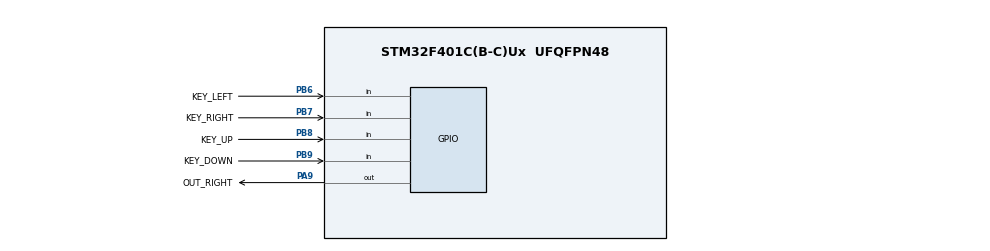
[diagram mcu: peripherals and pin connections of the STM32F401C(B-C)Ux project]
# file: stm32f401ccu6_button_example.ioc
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Mcu.Family=STM32F4
Mcu.Name=STM32F401C(B-C)Ux
Mcu.Package=UFQFPN48
NVIC.PriorityGroup=NVIC_PRIORITYGROUP_4
NVIC.TIM1_UP_TIM10_IRQn=true\:2\:0\:true\:false\:true\:true\:true\:true
PA13.Mode=Serial_Wire
PA13.Signal=SYS_JTMS-SWDIO
PA14.Mode=Serial_Wire
PA14.Signal=SYS_JTCK-SWCLK
PA9.GPIO_Label=OUT_RIGHT
PA9.Signal=GPIO_Output
PB6.GPIO_Label=KEY_LEFT
PB6.GPIO_Mode=GPIO_MODE_INPUT
PB6.GPIO_PuPd=GPIO_PULLUP
PB6.Signal=GPIO_Input
PB7.GPIO_Label=KEY_RIGHT
PB7.GPIO_Mode=GPIO_MODE_INPUT
PB7.GPIO_PuPd=GPIO_PULLUP
PB7.Signal=GPIO_Input
PB8.GPIO_Label=KEY_UP
PB8.GPIO_Mode=GPIO_MODE_INPUT
PB8.GPIO_PuPd=GPIO_PULLUP
PB8.Signal=GPIO_Input
PB9.GPIO_Label=KEY_DOWN
PB9.GPIO_Mode=GPIO_MODE_INPUT
PB9.GPIO_PuPd=GPIO_PULLUP
PB9.Signal=GPIO_Input
PH0\ -\ OSC_IN.Mode=HSE-External-Oscillator
PH0\ -\ OSC_IN.Signal=RCC_OSC_IN
PH1\ -\ OSC_OUT.Mode=HSE-External-Oscillator
PH1\ -\ OSC_OUT.Signal=RCC_OSC_OUT
ProjectManager.HeapSize=0x200
ProjectManager.StackSize=0x400
ProjectManager.TargetToolchain=STM32CubeIDE
RCC.48MHZClocksFreq_Value=42000000
RCC.AHBFreq_Value=84000000
RCC.APB1CLKDivider=RCC_HCLK_DIV2
RCC.APB1Freq_Value=42000000
RCC.APB1TimFreq_Value=84000000
RCC.APB2Freq_Value=84000000
RCC.APB2TimFreq_Value=84000000
RCC.CortexFreq_Value=84000000
RCC.HCLKFreq_Value=84000000
RCC.HSE_VALUE=25000000
RCC.HSI_VALUE=16000000
RCC.LSE_VALUE=32768
RCC.PLLM=25
RCC.PLLN=168
RCC.PLLSourceVirtual=RCC_PLLSOURCE_HSE
RCC.SYSCLKFreq_VALUE=84000000
RCC.SYSCLKSource=RCC_SYSCLKSOURCE_PLLCLK
RCC.VCOOutputFreq_Value=168000000
TIM10.Period=419
TIM10.Prescaler=999
VP_TIM10_VS_ClockSourceINT.Mode=Enable_Timer
board=custom

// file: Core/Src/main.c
/* USER CODE BEGIN Header */
/**
  ******************************************************************************
  * @file           : main.c
  * @brief          : Main program body
  ******************************************************************************
  * @attention
  *
  * Copyright (c) 2022 STMicroelectronics.
  * All rights reserved.
  *
  * This software is licensed under terms that can be found in the LICENSE file
  * in the root directory of this software component.
  * If no LICENSE file comes with this software, it is provided AS-IS.
  *
  ******************************************************************************
  */
/* USER CODE END Header */
#include "main.h"

/* USER CODE BEGIN Includes */
#include "keyboard.h"
/* USER CODE END Includes */

void SystemClock_Config(void);
static void MX_GPIO_Init(void);
static void MX_TIM10_Init(void);

int main(void)
{
  /* USER CODE BEGIN 1 */
  /* включаем кэширование инструкций */
  #if (INSTRUCTION_CACHE_ENABLE != 0U)
	((FLASH_TypeDef *) ((0x40000000UL + 0x00020000UL) + 0x3C00UL))->ACR |= (0x1UL << (9U));
  #endif
  /* включаем кэширование данных */
  #if (DATA_CACHE_ENABLE != 0U)
	((FLASH_TypeDef *) ((0x40000000UL + 0x00020000UL) + 0x3C00UL))->ACR |= (0x1UL << (10U));
  #endif
  /* включаем систему предварительной выборки инструкций*/
  #if (PREFETCH_ENABLE != 0U)
	((FLASH_TypeDef *) ((0x40000000UL + 0x00020000UL) + 0x3C00UL))->ACR |= (0x1UL << (8U));
  #endif
  /* USER CODE END 1 */

  /* MCU Configuration--------------------------------------------------------*/

  /* Reset of all peripherals, Initializes the Flash interface and the Systick. */
  LL_APB2_GRP1_EnableClock(LL_APB2_GRP1_PERIPH_SYSCFG);
  LL_APB1_GRP1_EnableClock(LL_APB1_GRP1_PERIPH_PWR);

  /* System interrupt init*/
  NVIC_SetPriorityGrouping(NVIC_PRIORITYGROUP_4);

  /* SysTick_IRQn interrupt configuration */
  NVIC_SetPriority(SysTick_IRQn, NVIC_EncodePriority(NVIC_GetPriorityGrouping(),15, 0));

  /* Configure the system clock */
  SystemClock_Config();

  /* Initialize all configured peripherals */
  MX_GPIO_Init();
  MX_TIM10_Init();
  /* USER CODE BEGIN 2 */

  //добавляем кнопки для опроса
  KEYB_Add_Button(KEY_LEFT_GPIO_Port, KEY_LEFT_Pin, KEYB_LEFT, KEYB_BUTTON_ACTIVE);
  KEYB_Add_Button(KEY_RIGHT_GPIO_Port, KEY_RIGHT_Pin, KEYB_RIGHT, KEYB_BUTTON_ACTIVE);
  KEYB_Add_Button(KEY_UP_GPIO_Port, KEY_UP_Pin, KEYB_UP, KEYB_BUTTON_ACTIVE);
  KEYB_Add_Button(KEY_DOWN_GPIO_Port, KEY_DOWN_Pin, KEYB_DOWN, KEYB_BUTTON_ACTIVE);

  //разрешаем прерывания по обновлению таймера
  TIM10->DIER |= TIM_DIER_UIE;
  //запускаем таймер
  TIM10->CR1  |= TIM_CR1_CEN;
  /* USER CODE END 2 */

  /* Infinite loop */
  /* USER CODE BEGIN WHILE */

  uint32_t keys = 0;

  while (1)
  {
    /* USER CODE END WHILE */
	  //читаем состояние ключей кнопок из буфера
	  keys = KEYB_Inkeys();
	  if (keys & (1<<KEYB_RIGHT)) LL_GPIO_TogglePin(OUT_RIGHT_GPIO_Port, OUT_RIGHT_Pin);
	  if (keys & (1<<KEYB_LEFT))  LL_GPIO_TogglePin(OUT_RIGHT_GPIO_Port, OUT_RIGHT_Pin);
	  if (keys & (1<<KEYB_UP))    LL_GPIO_TogglePin(OUT_RIGHT_GPIO_Port, OUT_RIGHT_Pin);
	  if (keys & (1<<KEYB_DOWN))  LL_GPIO_TogglePin(OUT_RIGHT_GPIO_Port, OUT_RIGHT_Pin);
	  LL_mDelay(200);
  }
}

void SystemClock_Config(void)
{
  LL_FLASH_SetLatency(LL_FLASH_LATENCY_2);
  while(LL_FLASH_GetLatency()!= LL_FLASH_LATENCY_2)
  {
  }
  LL_PWR_SetRegulVoltageScaling(LL_PWR_REGU_VOLTAGE_SCALE2);
  LL_RCC_HSE_Enable();

   /* Wait till HSE is ready */
  while(LL_RCC_HSE_IsReady() != 1)
  {

  }
  LL_RCC_PLL_ConfigDomain_SYS(LL_RCC_PLLSOURCE_HSE, LL_RCC_PLLM_DIV_25, 168, LL_RCC_PLLP_DIV_2);
  LL_RCC_PLL_Enable();

   /* Wait till PLL is ready */
  while(LL_RCC_PLL_IsReady() != 1)
  {

  }
  LL_RCC_SetAHBPrescaler(LL_RCC_SYSCLK_DIV_1);
  LL_RCC_SetAPB1Prescaler(LL_RCC_APB1_DIV_2);
  LL_RCC_SetAPB2Prescaler(LL_RCC_APB2_DIV_1);
  LL_RCC_SetSysClkSource(LL_RCC_SYS_CLKSOURCE_PLL);

   /* Wait till System clock is ready */
  while(LL_RCC_GetSysClkSource() != LL_RCC_SYS_CLKSOURCE_STATUS_PLL)
  {

  }
  LL_Init1msTick(84000000);
  LL_SetSystemCoreClock(84000000);
  LL_RCC_SetTIMPrescaler(LL_RCC_TIM_PRESCALER_TWICE);
}

static void MX_TIM10_Init(void)
{

  LL_TIM_InitTypeDef TIM_InitStruct = {0};

  /* Peripheral clock enable */
  LL_APB2_GRP1_EnableClock(LL_APB2_GRP1_PERIPH_TIM10);

  /* TIM10 interrupt Init */
  NVIC_SetPriority(TIM1_UP_TIM10_IRQn, NVIC_EncodePriority(NVIC_GetPriorityGrouping(),2, 0));
  NVIC_EnableIRQ(TIM1_UP_TIM10_IRQn);

  TIM_InitStruct.Prescaler = 999;
  TIM_InitStruct.CounterMode = LL_TIM_COUNTERMODE_UP;
  TIM_InitStruct.Autoreload = 419;
  TIM_InitStruct.ClockDivision = LL_TIM_CLOCKDIVISION_DIV1;
  LL_TIM_Init(TIM10, &TIM_InitStruct);
  LL_TIM_DisableARRPreload(TIM10);

}

static void MX_GPIO_Init(void)
{
  LL_GPIO_InitTypeDef GPIO_InitStruct = {0};

  /* GPIO Ports Clock Enable */
  LL_AHB1_GRP1_EnableClock(LL_AHB1_GRP1_PERIPH_GPIOH);
  LL_AHB1_GRP1_EnableClock(LL_AHB1_GRP1_PERIPH_GPIOA);
  LL_AHB1_GRP1_EnableClock(LL_AHB1_GRP1_PERIPH_GPIOB);

  /**/
  LL_GPIO_ResetOutputPin(OUT_RIGHT_GPIO_Port, OUT_RIGHT_Pin);

  /**/
  GPIO_InitStruct.Pin = OUT_RIGHT_Pin;
  GPIO_InitStruct.Mode = LL_GPIO_MODE_OUTPUT;
  GPIO_InitStruct.Speed = LL_GPIO_SPEED_FREQ_LOW;
  GPIO_InitStruct.OutputType = LL_GPIO_OUTPUT_PUSHPULL;
  GPIO_InitStruct.Pull = LL_GPIO_PULL_NO;
  LL_GPIO_Init(OUT_RIGHT_GPIO_Port, &GPIO_InitStruct);

  /**/
  GPIO_InitStruct.Pin = KEY_LEFT_Pin|KEY_RIGHT_Pin|KEY_UP_Pin|KEY_DOWN_Pin;
  GPIO_InitStruct.Mode = LL_GPIO_MODE_INPUT;
  GPIO_InitStruct.Pull = LL_GPIO_PULL_UP;
  LL_GPIO_Init(GPIOB, &GPIO_InitStruct);

}

void Error_Handler(void)
{
  __disable_irq();
  while (1)
  {
  }
}
